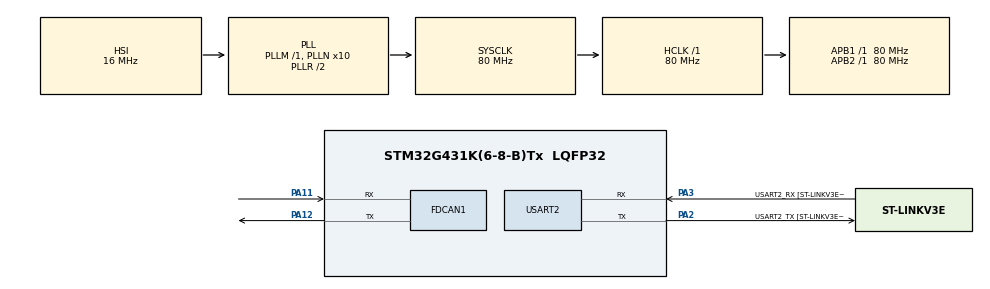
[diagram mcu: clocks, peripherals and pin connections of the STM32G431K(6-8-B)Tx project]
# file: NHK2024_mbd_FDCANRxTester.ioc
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FDCAN1.CalculateBaudRateNominal=1000000
FDCAN1.CalculateTimeBitNominal=1000
FDCAN1.CalculateTimeQuantumNominal=50.0
FDCAN1.DataPrescaler=2
FDCAN1.DataSyncJumpWidth=1
FDCAN1.DataTimeSeg1=15
FDCAN1.DataTimeSeg2=4
FDCAN1.FrameFormat=FDCAN_FRAME_FD_BRS
FDCAN1.NominalPrescaler=4
FDCAN1.NominalSyncJumpWidth=1
FDCAN1.NominalTimeSeg1=15
FDCAN1.NominalTimeSeg2=4
FDCAN1.StdFiltersNbr=1
Mcu.Family=STM32G4
Mcu.Name=STM32G431K(6-8-B)Tx
Mcu.Package=LQFP32
NVIC.FDCAN1_IT0_IRQn=true\:0\:0\:false\:false\:true\:true\:true\:true
NVIC.FDCAN1_IT1_IRQn=true\:0\:0\:false\:false\:true\:true\:true\:true
NVIC.PriorityGroup=NVIC_PRIORITYGROUP_4
PA11.Mode=FDCAN_Activate
PA11.Signal=FDCAN1_RX
PA12.Mode=FDCAN_Activate
PA12.Signal=FDCAN1_TX
PA13.GPIO_Label=T_SWDIO
PA13.Mode=Serial_Wire
PA13.Signal=SYS_JTMS-SWDIO
PA14.GPIO_Label=T_SWCLK
PA14.Mode=Serial_Wire
PA14.Signal=SYS_JTCK-SWCLK
PA2.GPIO_Label=USART2_TX [ST-LINKV3E_VCP_RX]
PA2.Mode=Asynchronous
PA2.Signal=USART2_TX
PA3.GPIO_Label=USART2_RX [ST-LINKV3E_VCP_TX]
PA3.Mode=Asynchronous
PA3.Signal=USART2_RX
ProjectManager.HeapSize=0x200
ProjectManager.StackSize=0x400
ProjectManager.TargetToolchain=STM32CubeIDE
RCC.ADC12Freq_Value=80000000
RCC.AHBFreq_Value=80000000
RCC.APB1Freq_Value=80000000
RCC.APB1TimFreq_Value=80000000
RCC.APB2Freq_Value=80000000
RCC.APB2TimFreq_Value=80000000
RCC.CortexFreq_Value=80000000
RCC.EXTERNAL_CLOCK_VALUE=12288000
RCC.HCLKFreq_Value=80000000
RCC.HSE_VALUE=8000000
RCC.HSI48_VALUE=48000000
RCC.HSI_VALUE=16000000
RCC.LSE_VALUE=32768
RCC.PLLN=10
RCC.SYSCLKFreq_VALUE=80000000
RCC.SYSCLKSource=RCC_SYSCLKSOURCE_PLLCLK
RCC.USBFreq_Value=80000000
RCC.VCOOutputFreq_Value=160000000
USART2.VirtualMode-Asynchronous=VM_ASYNC
USART2.WordLength=WORDLENGTH_8B
board=NUCLEO-G431KB

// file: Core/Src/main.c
/* USER CODE BEGIN Header */
/**
  ******************************************************************************
  * @file           : main.c
  * @brief          : Main program body
  ******************************************************************************
  * @attention
  *
  * Copyright (c) 2024 STMicroelectronics.
  * All rights reserved.
  *
  * This software is licensed under terms that can be found in the LICENSE file
  * in the root directory of this software component.
  * If no LICENSE file comes with this software, it is provided AS-IS.
  *
  ******************************************************************************
  */
/* USER CODE END Header */
#include "main.h"

/* USER CODE BEGIN Includes */
#include <stdio.h>

/* USER CODE END Includes */

FDCAN_HandleTypeDef hfdcan1;

UART_HandleTypeDef huart2;

/* USER CODE BEGIN PV */

FDCAN_TxHeaderTypeDef ArmTxHeader;
FDCAN_RxHeaderTypeDef RxHeader;
FDCAN_FilterTypeDef sFilterConfig;

uint8_t TxData[8];
uint8_t RxData[8];
uint32_t TxMailbox;
/* USER CODE END PV */

void SystemClock_Config(void);
static void MX_GPIO_Init(void);
static void MX_USART2_UART_Init(void);
static void MX_FDCAN1_Init(void);

/* USER CODE BEGIN 0 */
void HAL_FDCAN_RxFifo0Callback(FDCAN_HandleTypeDef *hfdcan1, uint32_t RxFifo0ITs) {
    if ((RxFifo0ITs & FDCAN_IT_RX_FIFO0_NEW_MESSAGE) != RESET) {
        /* Retrieve Rx messages from RX FIFO0 */
        if (HAL_FDCAN_GetRxMessage(hfdcan1, FDCAN_RX_FIFO0, &RxHeader, RxData) != HAL_OK) {
            Error_Handler();
        }

        printf("ID:0x%x", RxHeader.Identifier);
        for(uint8_t i=0; i < RxHeader.DataLength; i++){
        	printf("RxData[%d]: %d", i, RxData[0]);
        }
        printf("\r\n");
    }
}

int _write(int file, char *ptr, int len)
{
    HAL_UART_Transmit(&huart2,(uint8_t *)ptr,len,10);
    return len;
}
/* USER CODE END 0 */

int main(void)
{

  /* MCU Configuration--------------------------------------------------------*/

  /* Reset of all peripherals, Initializes the Flash interface and the Systick. */
  HAL_Init();

  /* USER CODE BEGIN Init */
  setbuf(stdout, NULL);
  /* USER CODE END Init */

  /* Configure the system clock */
  SystemClock_Config();

  /* Initialize all configured peripherals */
  MX_GPIO_Init();
  MX_USART2_UART_Init();
  MX_FDCAN1_Init();
  /* USER CODE BEGIN 2 */
  FDCAN_FilterTypeDef sFilterConfig;
  sFilterConfig.IdType = FDCAN_STANDARD_ID;
  sFilterConfig.FilterIndex = 0;
  sFilterConfig.FilterType = FDCAN_FILTER_MASK;
  sFilterConfig.FilterConfig = FDCAN_FILTER_TO_RXFIFO0;
  sFilterConfig.FilterID1 = 0x00;
  sFilterConfig.FilterID2 = 0x00;

  if (HAL_FDCAN_ConfigFilter(&hfdcan1, &sFilterConfig) != HAL_OK) {
	  Error_Handler();
  }
  if (HAL_FDCAN_ConfigGlobalFilter(&hfdcan1, FDCAN_REJECT, FDCAN_REJECT, FDCAN_FILTER_REMOTE, FDCAN_FILTER_REMOTE) !=
	  HAL_OK) {
	  Error_Handler();
  }

  /* Start the FDCAN module */
  if (HAL_FDCAN_Start(&hfdcan1) != HAL_OK) {
	  Error_Handler();
  }
  if (HAL_FDCAN_ActivateNotification(&hfdcan1, FDCAN_IT_RX_FIFO0_NEW_MESSAGE, 0) != HAL_OK){
	  Error_Handler();
  }

  printf("Initialized\r\n");

  /* USER CODE END 2 */

  /* Infinite loop */
  while (1)
  {

  }
}

void SystemClock_Config(void)
{
  RCC_OscInitTypeDef RCC_OscInitStruct = {0};
  RCC_ClkInitTypeDef RCC_ClkInitStruct = {0};

  /** Configure the main internal regulator output voltage
  */
  HAL_PWREx_ControlVoltageScaling(PWR_REGULATOR_VOLTAGE_SCALE1);

  /** Initializes the RCC Oscillators according to the specified parameters
  * in the RCC_OscInitTypeDef structure.
  */
  RCC_OscInitStruct.OscillatorType = RCC_OSCILLATORTYPE_HSI;
  RCC_OscInitStruct.HSIState = RCC_HSI_ON;
  RCC_OscInitStruct.HSICalibrationValue = RCC_HSICALIBRATION_DEFAULT;
  RCC_OscInitStruct.PLL.PLLState = RCC_PLL_ON;
  RCC_OscInitStruct.PLL.PLLSource = RCC_PLLSOURCE_HSI;
  RCC_OscInitStruct.PLL.PLLM = RCC_PLLM_DIV1;
  RCC_OscInitStruct.PLL.PLLN = 10;
  RCC_OscInitStruct.PLL.PLLP = RCC_PLLP_DIV2;
  RCC_OscInitStruct.PLL.PLLQ = RCC_PLLQ_DIV2;
  RCC_OscInitStruct.PLL.PLLR = RCC_PLLR_DIV2;
  if (HAL_RCC_OscConfig(&RCC_OscInitStruct) != HAL_OK)
  {
    Error_Handler();
  }

  /** Initializes the CPU, AHB and APB buses clocks
  */
  RCC_ClkInitStruct.ClockType = RCC_CLOCKTYPE_HCLK|RCC_CLOCKTYPE_SYSCLK
                              |RCC_CLOCKTYPE_PCLK1|RCC_CLOCKTYPE_PCLK2;
  RCC_ClkInitStruct.SYSCLKSource = RCC_SYSCLKSOURCE_PLLCLK;
  RCC_ClkInitStruct.AHBCLKDivider = RCC_SYSCLK_DIV1;
  RCC_ClkInitStruct.APB1CLKDivider = RCC_HCLK_DIV1;
  RCC_ClkInitStruct.APB2CLKDivider = RCC_HCLK_DIV1;

  if (HAL_RCC_ClockConfig(&RCC_ClkInitStruct, FLASH_LATENCY_2) != HAL_OK)
  {
    Error_Handler();
  }
}

static void MX_FDCAN1_Init(void)
{

  hfdcan1.Instance = FDCAN1;
  hfdcan1.Init.ClockDivider = FDCAN_CLOCK_DIV1;
  hfdcan1.Init.FrameFormat = FDCAN_FRAME_FD_BRS;
  hfdcan1.Init.Mode = FDCAN_MODE_NORMAL;
  hfdcan1.Init.AutoRetransmission = DISABLE;
  hfdcan1.Init.TransmitPause = DISABLE;
  hfdcan1.Init.ProtocolException = DISABLE;
  hfdcan1.Init.NominalPrescaler = 4;
  hfdcan1.Init.NominalSyncJumpWidth = 1;
  hfdcan1.Init.NominalTimeSeg1 = 15;
  hfdcan1.Init.NominalTimeSeg2 = 4;
  hfdcan1.Init.DataPrescaler = 2;
  hfdcan1.Init.DataSyncJumpWidth = 1;
  hfdcan1.Init.DataTimeSeg1 = 15;
  hfdcan1.Init.DataTimeSeg2 = 4;
  hfdcan1.Init.StdFiltersNbr = 1;
  hfdcan1.Init.ExtFiltersNbr = 0;
  hfdcan1.Init.TxFifoQueueMode = FDCAN_TX_FIFO_OPERATION;
  if (HAL_FDCAN_Init(&hfdcan1) != HAL_OK)
  {
    Error_Handler();
  }

}

static void MX_USART2_UART_Init(void)
{

  huart2.Instance = USART2;
  huart2.Init.BaudRate = 115200;
  huart2.Init.WordLength = UART_WORDLENGTH_8B;
  huart2.Init.StopBits = UART_STOPBITS_1;
  huart2.Init.Parity = UART_PARITY_NONE;
  huart2.Init.Mode = UART_MODE_TX_RX;
  huart2.Init.HwFlowCtl = UART_HWCONTROL_NONE;
  huart2.Init.OverSampling = UART_OVERSAMPLING_16;
  huart2.Init.OneBitSampling = UART_ONE_BIT_SAMPLE_DISABLE;
  huart2.Init.ClockPrescaler = UART_PRESCALER_DIV1;
  huart2.AdvancedInit.AdvFeatureInit = UART_ADVFEATURE_NO_INIT;
  if (HAL_UART_Init(&huart2) != HAL_OK)
  {
    Error_Handler();
  }
  if (HAL_UARTEx_SetTxFifoThreshold(&huart2, UART_TXFIFO_THRESHOLD_1_8) != HAL_OK)
  {
    Error_Handler();
  }
  if (HAL_UARTEx_SetRxFifoThreshold(&huart2, UART_RXFIFO_THRESHOLD_1_8) != HAL_OK)
  {
    Error_Handler();
  }
  if (HAL_UARTEx_DisableFifoMode(&huart2) != HAL_OK)
  {
    Error_Handler();
  }

}

static void MX_GPIO_Init(void)
{

  /* GPIO Ports Clock Enable */
  __HAL_RCC_GPIOA_CLK_ENABLE();

}

void Error_Handler(void)
{
  __disable_irq();
  while (1)
  {
  }
}
